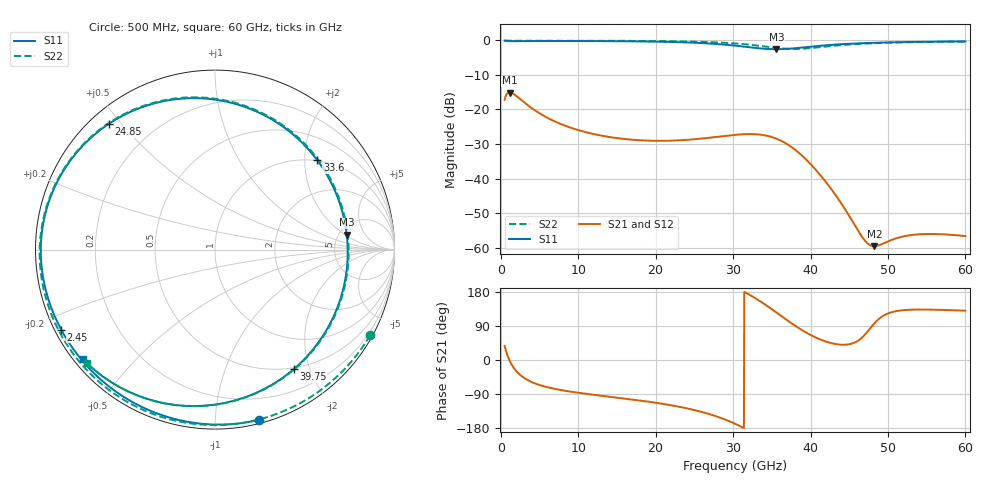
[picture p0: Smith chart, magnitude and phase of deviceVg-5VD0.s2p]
! Created Mon Feb 12 23:48:36 2024
# hz S ma R 50
! 2 Port Network Data from SP1.SP block
! freq  magS11  angS11  magS21  angS21  magS12  angS12  magS22  angS22
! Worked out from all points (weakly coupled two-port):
!   1191 points, 500 MHz to 60 GHz, reference 50 ohm
!   highest |S21| = -15.14 dB at 1.15 GHz (marker M1); lowest = -59.4 dB at 48.25 GHz (marker M2)
!   lowest |S11| = -2.6 dB at 35.6 GHz (marker M3), VSWR 6.65, Z = 292 + j107 ohm
!   |S11| at or under -10 dB: nowhere
!   |S22| runs from -2.6 to -0.1 dB; largest |S21 - S12| = 0
!   S11 on the Smith chart (normalised r, x): 500 MHz: 0.03, -1.29; 2.45 GHz: 0.02, -0.24; 24.85 GHz: 0.05, +0.46; 33.6 GHz: 0.99, +2.30; 39.75 GHz: 0.48, -1.76; 60 GHz: 0.03, -0.36
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5e8  0.9808 -75.7  0.1382 37.3  0.1382 37.3  0.9873 -28.9
1.15e9  0.9652 -122.0  0.175 -1.8  0.175 -1.8  0.9785 -60.7
1.7e9  0.964 -139.5  0.1654 -21.2  0.1654 -21.2  0.9775 -81.9
2.45e9  0.9658 -152.5  0.1428 -38.3  0.1428 -38.3  0.9783 -103.3
3.6e9  0.9686 -163.2  0.1127 -54.3  0.1127 -54.3  0.9795 -124.8
5.1e9  0.9704 -171.2  0.08666 -66.6  0.08666 -66.6  0.9803 -141.8
1.045e10  0.9692 173.8  0.04872 -87.6  0.04872 -87.6  0.9794 -169.1
2.035e10  0.9474 149.1  0.03525 -113.8  0.03525 -113.8  0.9671 163.8
2.485e10  0.9171 130.3  0.03701 -131.3  0.03701 -131.3  0.9497 148.3
2.76e10  0.8825 112.7  0.03983 -147.0  0.03983 -147.0  0.929 134.8
3.025e10  0.8314 87.9  0.04298 -168.2  0.04298 -168.2  0.8948 116.5
3.36e10  0.7568 41.1  0.04316 153.6  0.04316 153.6  0.8218 80.2
3.56e10  0.7385 6.4  0.03783 125.3  0.03783 125.3  0.7714 48.5
3.77e10  0.7577 -28.6  0.02787 94.8  0.02787 94.8  0.7443 9.1
3.975e10  0.7976 -56.7  0.01747 68.8  0.01747 68.8  0.7615 -28.2
4.02e10  0.8069 -61.8  0.01546 64.0  0.01546 64.0  0.7695 -35.4
4.35e10  0.8655 -91.0  0.005283 41.2  0.005283 41.2  0.8371 -76.5
4.685e10  0.9035 -109.3  0.001357 63.0  0.001357 63.0  0.8873 -101.1
4.825e10  0.9145 -114.9  0.001066 96.8  0.001066 96.8  0.9017 -108.3
5.01e10  0.926 -121.1  0.001262 123.6  0.001262 123.6  0.9164 -115.9
5.4e10  0.9424 -130.7  0.001581 133.2  0.001581 133.2  0.9368 -127.5
6e10  0.9564 -140.4  0.001491 130.2  0.001491 130.2  0.9533 -138.5
